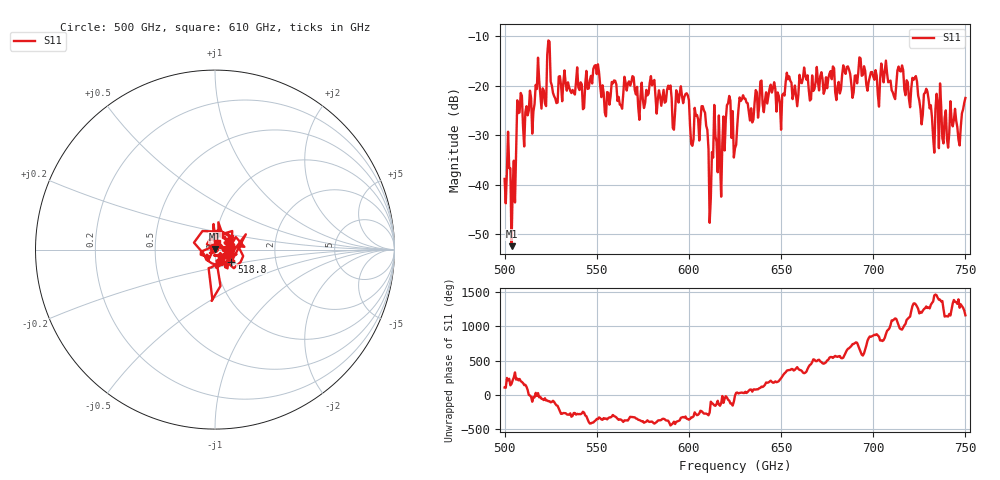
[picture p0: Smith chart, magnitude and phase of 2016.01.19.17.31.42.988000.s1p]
!Created with skrf (http://scikit-rf.org).
# GHz S RI R 50.0
!freq ReS11 ImS11
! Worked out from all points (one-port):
!   401 points, 500 GHz to 750 GHz, reference 50 ohm
!   lowest |S11| = -52.4 dB at 503.8 GHz (marker M1), VSWR 1.00, Z = 49.8 + j0.0805 ohm
!   |S11| at or under -10 dB: start of sweep to end of sweep
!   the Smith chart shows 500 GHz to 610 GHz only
!   S11 on the Smith chart (normalised r, x): 500 GHz: 0.99, +0.02; 518.8 GHz: 1.19, -0.16; 610 GHz: 1.01, +0.07
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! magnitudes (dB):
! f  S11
! 500 GHz  -38.8
! 503.8 GHz  -52.4
! 505 GHz  -35.2
! 508.1 GHz  -25.4
! 511.2 GHz  -25.4
! 518.8 GHz  -18.9
! 521.2 GHz  -21.0
! 524.4 GHz  -11.1
! 527.5 GHz  -22.6
! 531.2 GHz  -23.1
! 549.4 GHz  -15.9
! 562.5 GHz  -23.8
! 593.8 GHz  -21.8
! 598.8 GHz  -21.5
! 601.9 GHz  -32.2
! 608.1 GHz  -25.0
! 610 GHz  -28.9
! 611.9 GHz  -42.8
! 613.8 GHz  -23.9
! 618.1 GHz  -31.6
! 621.2 GHz  -23.6
! 625 GHz  -32.6
! 628.8 GHz  -22.7
! 656.2 GHz  -22.7
! 687.5 GHz  -17.6
! 718.8 GHz  -19.3
! 739.4 GHz  -25.0
! 750 GHz  -22.5
